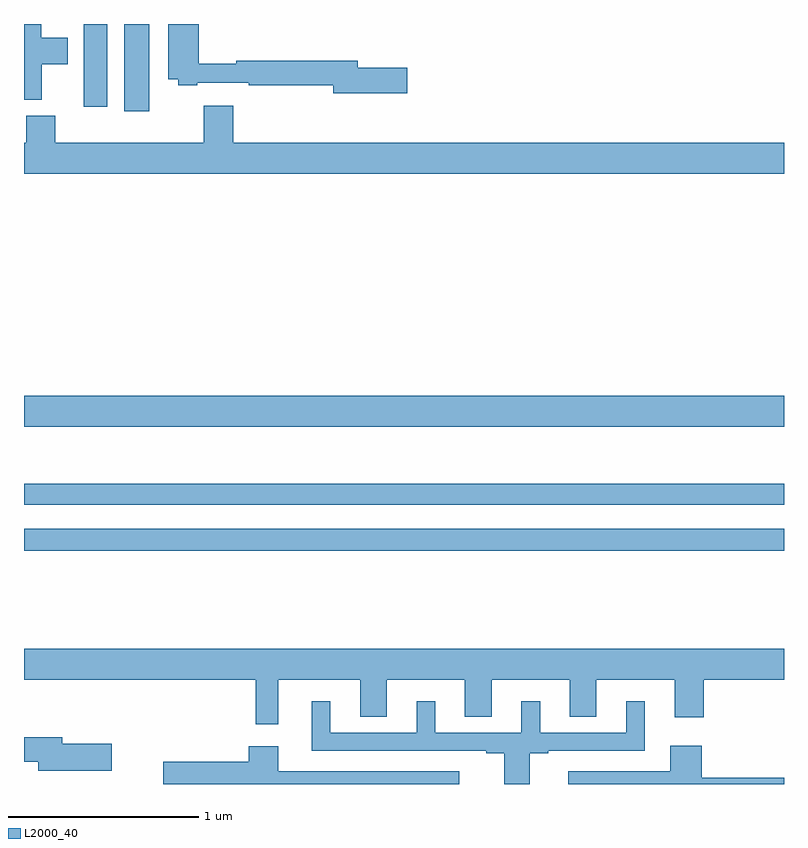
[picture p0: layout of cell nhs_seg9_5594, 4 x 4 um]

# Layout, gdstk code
import gdstk
lib = gdstk.Library(unit=1e-6, precision=1e-09)
def R(c, l, rs):  # rectangles x0, y0, x1, y1
    for r in rs: c.add(gdstk.rectangle(r[:2], r[2:], *l))
def P(c, l, *ps):  # polygons
    for p in ps: c.add(gdstk.Polygon(p, *l))
L2000_40 = (2000, 40)

nhs_seg9_5594 = lib.new_cell('nhs_seg9_5594')
R(nhs_seg9_5594, L2000_40, [(435,1235.728,439,1235.844), (435,1235.97,439,1236.079), (435,1236.38,439,1236.544), (435.527,1238.04,435.658,1238.5), (435.314,1238.064,435.439,1238.5)])
P(nhs_seg9_5594, L2000_40, [(435.093,1238.288),(435.229,1238.288),(435.229,1238.428),(435.09,1238.428),(435.09,1238.5),(435,1238.5),(435,1238.102),(435.093,1238.102)],
  [(437.017,1238.27),(436.756,1238.27),(436.756,1238.306),(436.118,1238.306),(436.118,1238.291),(435.92,1238.291),(435.92,1238.5),(435.758,1238.5),(435.758,1238.21),(435.813,1238.21),(435.813,1238.178),(435.913,1238.178),(435.913,1238.19),(436.183,1238.19),(436.183,1238.178),(436.628,1238.178),(436.628,1238.135),(437.017,1238.135)],
  [(439,1237.876),(436.1,1237.876),(436.1,1238.071),(435.947,1238.071),(435.947,1237.876),(435.164,1237.876),(435.164,1238.017),(435.011,1238.017),(435.011,1237.876),(435,1237.876),(435,1237.712),(439,1237.712)],
  [(436.337,1235.048),(436.769,1235.048),(436.769,1234.855),(436.909,1234.855),(436.909,1235.048),(437.321,1235.048),(437.321,1234.855),(437.461,1234.855),(437.461,1235.048),(437.873,1235.048),(437.873,1234.855),(438.013,1234.855),(438.013,1235.048),(438.425,1235.048),(438.425,1234.851),(438.578,1234.851),(438.578,1235.048),(439,1235.048),(439,1235.212),(435,1235.212),(435,1235.048),(436.219,1235.048),(436.219,1234.815),(436.337,1234.815)],
  [(437.662,1234.662),(437.758,1234.662),(437.758,1234.674),(438.268,1234.674),(438.268,1234.936),(438.17,1234.936),(438.17,1234.77),(437.716,1234.77),(437.716,1234.936),(437.618,1234.936),(437.618,1234.77),(437.164,1234.77),(437.164,1234.936),(437.066,1234.936),(437.066,1234.77),(436.612,1234.77),(436.612,1234.936),(436.514,1234.936),(436.514,1234.674),(437.432,1234.674),(437.432,1234.662),(437.528,1234.662),(437.528,1234.5),(437.662,1234.5)],
  [(435.463,1234.713),(435.202,1234.713),(435.202,1234.747),(435,1234.747),(435,1234.618),(435.074,1234.618),(435.074,1234.571),(435.463,1234.571)],
  [(439,1234.532),(438.568,1234.532),(438.568,1234.702),(438.401,1234.702),(438.401,1234.567),(437.865,1234.567),(437.865,1234.5),(439,1234.5)],
  [(437.29,1234.567),(436.954,1234.567),(436.954,1234.566),(436.339,1234.566),(436.339,1234.699),(436.184,1234.699),(436.184,1234.617),(435.732,1234.617),(435.732,1234.5),(437.29,1234.5)])

lib.write_gds('nhs_seg9_5594.gds')
